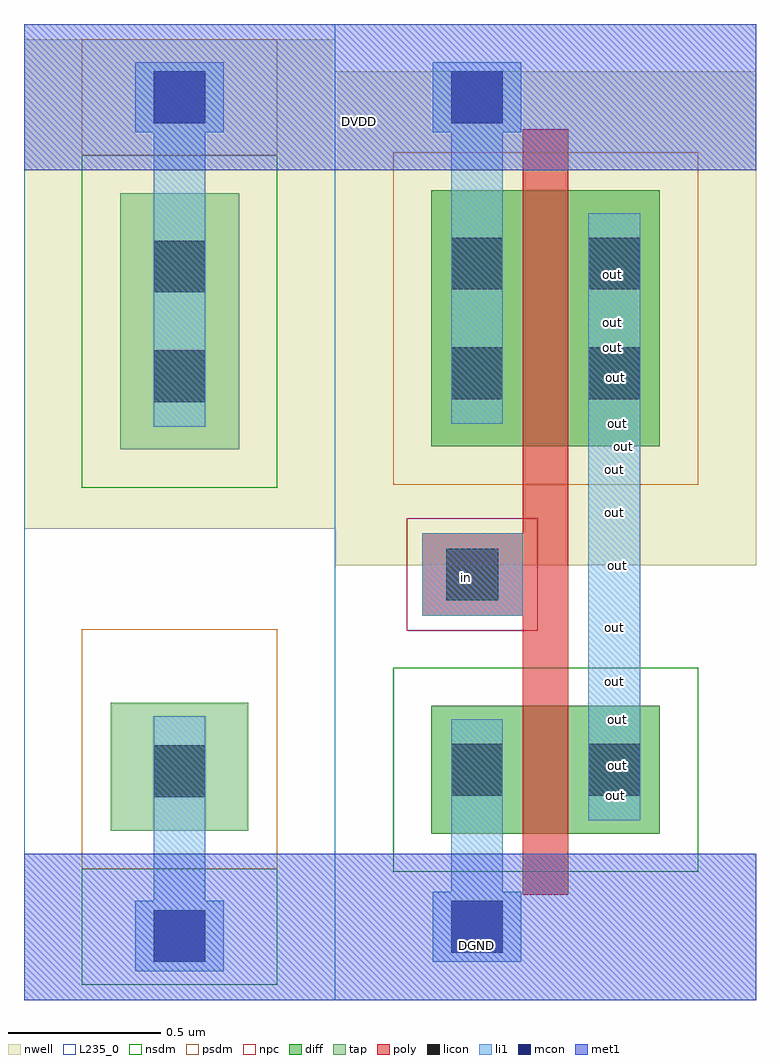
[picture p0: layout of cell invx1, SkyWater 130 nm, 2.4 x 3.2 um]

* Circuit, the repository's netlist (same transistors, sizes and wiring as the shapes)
** sch_path: /home/ee24s053/ee5311-2025/tut6/again/inv/invx1.sch
.subckt invx1 in out DVDD DGND
*.PININFO in:I out:O DVDD:B DGND:B
XM2 out in DVDD DVDD sky130_fd_pr__pfet_01v8 L=0.15 W=0.84 nf=1 m=1
XM1 out in DGND DGND sky130_fd_pr__nfet_01v8 L=0.15 W=0.42 nf=1 m=1
.ends
.end

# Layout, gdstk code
import gdstk
lib = gdstk.Library(unit=1e-6, precision=1e-09)
def R(c, l, rs):  # rectangles x0, y0, x1, y1
    for r in rs: c.add(gdstk.rectangle(r[:2], r[2:], *l))
nwell = (64, 20)
diff = (65, 20)
tap = (65, 44)
poly = (66, 20)
licon = (66, 44)
li1 = (67, 20)
mcon = (67, 44)
met1 = (68, 20)
nsdm = (93, 44)
psdm = (94, 20)
npc = (95, 20)
L235_0 = (235, 0)

pfet_1 = lib.new_cell('pfet$1')
R(pfet_1, nwell, [(-0.315,-0.39,1.065,1.23)])
R(pfet_1, diff, [(0,0,0.75,0.84)])
R(pfet_1, poly, [(0.3,-0.2,0.45,1.04)])
R(pfet_1, licon, [(0.065,0.155,0.235,0.325), (0.515,0.155,0.685,0.325), (0.065,0.515,0.235,0.685), (0.515,0.515,0.685,0.685)])
R(pfet_1, li1, [(0.065,0.075,0.235,0.765), (0.515,0.075,0.685,0.765)])
R(pfet_1, psdm, [(-0.125,-0.125,0.875,0.965)])

nfet = lib.new_cell('nfet')
R(nfet, diff, [(0,0,0.75,0.42)])
R(nfet, poly, [(0.3,-0.2,0.45,0.62)])
R(nfet, licon, [(0.065,0.125,0.235,0.295), (0.515,0.125,0.685,0.295)])
R(nfet, li1, [(0.065,0.045,0.235,0.375), (0.515,0.045,0.685,0.375)])
R(nfet, nsdm, [(-0.125,-0.125,0.875,0.545)])

vias_gen_2 = lib.new_cell('vias_gen$2')
R(vias_gen_2, poly, [(0,0,0.33,0.27)])
R(vias_gen_2, licon, [(0.08,0.05,0.25,0.22)])
R(vias_gen_2, li1, [(0,0,0.33,0.27)])
R(vias_gen_2, npc, [(-0.05,-0.05,0.38,0.32)])

vias_gen = lib.new_cell('vias_gen')
R(vias_gen, li1, [(0,0,0.29,0.23)])
R(vias_gen, mcon, [(0.06,0.03,0.23,0.2)])
R(vias_gen, met1, [(0,0,0.29,0.23)])

tap_ = lib.new_cell('tap')
R(tap_, nwell, [(-1.455,0.92,-0.435,2.525)])
R(tap_, tap, [(-1.17,-0.07,-0.72,0.35), (-1.14,1.18,-0.75,2.02)])
R(tap_, licon, [(-1.03,0.04,-0.86,0.21), (-1.03,1.335,-0.86,1.505), (-1.03,1.695,-0.86,1.865)])
R(tap_, li1, [(-1.03,-0.3,-0.86,-0.025), (-1.03,-0.025,-0.86,0.305), (-1.03,1.255,-0.86,1.945), (-1.03,1.945,-0.86,2.25)])
R(tap_, met1, [(-1.455,-0.625,-0.435,-0.145), (-1.455,2.095,-0.435,2.575)])
R(tap_, nsdm, [(-1.265,-0.575,-0.625,-0.195), (-1.265,1.055,-0.625,2.145)])
R(tap_, psdm, [(-1.265,-0.195,-0.625,0.59), (-1.265,2.145,-0.625,2.525)])
R(tap_, L235_0, [(-1.455,-0.625,-0.435,2.575)])
tap_.add(gdstk.Reference(vias_gen, (-1.09,-0.53)))
tap_.add(gdstk.Reference(vias_gen, (-1.09,2.22)))

vias_gen_3 = lib.new_cell('vias_gen$3')
R(vias_gen_3, li1, [(0,0,0.29,0.23)])
R(vias_gen_3, mcon, [(0.06,0.03,0.23,0.2)])
R(vias_gen_3, met1, [(0,0,0.29,0.23)])

invx1 = lib.new_cell('invx1')
R(invx1, met1, [(-0.48,-1.075,0.9,-0.595), (-0.48,1.645,0.9,2.125)])
invx1.add(gdstk.FlexPath([(0.435,0.815),(0.435,-0.155)], 0.17, ends="flush", simple_path=True, layer=67, datatype=20))  # li1
invx1.add(gdstk.FlexPath([(-0.015,-0.485),(-0.015,-0.72)], 0.17, ends="flush", simple_path=True, layer=67, datatype=20))  # li1
invx1.add(gdstk.FlexPath([(-0.015,1.505),(-0.015,1.77)], 0.17, ends="flush", simple_path=True, layer=67, datatype=20))  # li1
invx1.add(gdstk.FlexPath([(0.21,0.09),(0.21,0.54)], 0.15, ends="flush", simple_path=True, layer=66, datatype=20))  # poly
invx1.add(gdstk.Reference(pfet_1, (-0.165,0.74)))
invx1.add(gdstk.Reference(nfet, (-0.165,-0.53)))
invx1.add(gdstk.Reference(vias_gen_2, (-0.195,0.185)))
invx1.add(gdstk.Reference(tap_, (-0.045,-0.45)))
invx1.add(gdstk.Reference(vias_gen_3, (-0.16,-0.95)))
invx1.add(gdstk.Reference(vias_gen_3, (-0.16,1.77)))
invx1.add(gdstk.Label('in', (-0.05,0.31), layer=67, texttype=5))
invx1.add(gdstk.Label('out', (0.43,1.305), layer=67, texttype=5))
invx1.add(gdstk.Label('out', (0.43,1.145), layer=67, texttype=5))
invx1.add(gdstk.Label('out', (0.43,1.065), layer=67, texttype=5))
invx1.add(gdstk.Label('out', (0.445,0.815), layer=67, texttype=5))
invx1.add(gdstk.Label('out', (0.435,0.525), layer=67, texttype=5))
invx1.add(gdstk.Label('out', (0.445,0.35), layer=67, texttype=5))
invx1.add(gdstk.Label('out', (0.435,0.145), layer=67, texttype=5))
invx1.add(gdstk.Label('out', (0.435,-0.03), layer=67, texttype=5))
invx1.add(gdstk.Label('out', (0.445,-0.155), layer=67, texttype=5))
invx1.add(gdstk.Label('out', (0.445,-0.305), layer=67, texttype=5))
invx1.add(gdstk.Label('out', (0.44,-0.405), layer=67, texttype=5))
invx1.add(gdstk.Label('out', (0.465,0.74), layer=67, texttype=5))
invx1.add(gdstk.Label('out', (0.435,0.665), layer=67, texttype=5))
invx1.add(gdstk.Label('out', (0.44,0.965), layer=67, texttype=5))
invx1.add(gdstk.Label('DVDD', (-0.4,1.805), layer=68, texttype=5))
invx1.add(gdstk.Label('DGND', (-0.015,-0.895), layer=68, texttype=5))

lib.write_gds('invx1.gds')
